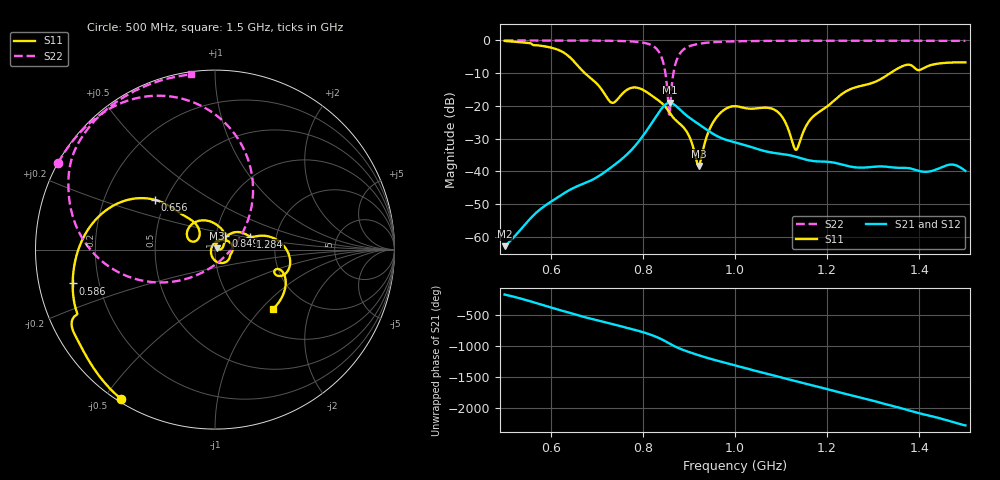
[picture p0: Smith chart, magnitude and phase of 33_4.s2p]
! TOUCHSTONE file generated by CST MICROWAVE STUDIO
! Date and time: Wed Oct 28 19:19:51 2020
! Project name: Scenario_1_Circular_Tissue_out_of_Line.cst
! Parameters = {dy1=208.912; L_HA=400; MT=2.54; Rad_Dielectric=30; Rad_Lower=7.3; Rad_Upper=30; a_HA=580; a_WG=246; b_HA=500; b_WG=121; c_HA=0; c_WG=187; d_feed=85; dx1=693; h_feed=15; h_lower=18; h_upper=40}
! Header version: 2018
! Port assignment regex: !\s*Touchstone port\s*([0-9]+)\s*=\s*(CST MWS port|CST DS port)\s*([0-9]+|Zmin|Zmax)\s*\(\"(.*)\"\)(\s*mode\s*([0-9]+))?.*
! Touchstone port assignment:
! Touchstone port 1 = CST MWS port 1 ("")
! Touchstone port 2 = CST MWS port 2 ("")
# GHz S DB R 50
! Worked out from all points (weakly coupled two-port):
!   1001 points, 500 MHz to 1.5 GHz, reference 50 ohm
!   highest |S21| = -19.06 dB at 858 MHz (marker M1); lowest = -62.9 dB at 500 MHz (marker M2)
!   lowest |S11| = -38.3 dB at 921 MHz (marker M3), VSWR 1.02, Z = 51 + j0.751 ohm
!   |S11| at or under -10 dB: 674.2 MHz to 1.337 GHz (662.6 MHz wide, 65.9 % of centre)
!   |S22| runs from -23.4 to 0.0 dB; largest |S21 - S12| = 2.5e-05
!   S11 on the Smith chart (normalised r, x): 500 MHz: 0.01, -0.55; 586 MHz: 0.10, -0.12; 656 MHz: 0.44, +0.30; 849 MHz: 1.11, +0.17; 1.284 GHz: 1.47, +0.22; 1.5 GHz: 1.38, -1.16
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0.5  -0.15 -122.2  -62.87 -176.3  -62.87 -176.3  -0.01 151.1
0.586  -1.78 -166.6  -50.66 7.2  -50.66 7.2  -0.02 145.2
0.631  -3.96 158.7  -46.52 -89.5  -46.52 -89.5  -0.03 141.6
0.656  -7.28 140.3  -44.66 -143.1  -44.66 -143.1  -0.04 139.4
0.667  -9.00 136.5  -44.02 -165.6  -44.02 -165.6  -0.04 138.3
0.732  -19.01 142.9  -38.71 73.5  -38.71 73.5  -0.11 130.5
0.781  -14.37 135.7  -32.57 -19.7  -32.57 -19.7  -0.35 119.9
0.816  -16.51 93.4  -25.97 -98.3  -25.97 -98.3  -1.27 102.8
0.834  -18.34 72.9  -22.15 -151.0  -22.15 -151.0  -3.31 83.1
0.849  -20.30 53.1  -19.58 153.9  -19.58 153.9  -10.03 49.7
0.858  -22.07 42.5  -19.06 116.8  -19.06 116.8  -23.27 -66.0
0.877  -25.07 29.0  -20.68 46.1  -20.68 46.1  -4.83 -168.7
0.899  -28.82 6.5  -23.39 -15.9  -23.39 -15.9  -1.89 167.9
0.921  -38.34 37.5  -25.55 -70.0  -25.55 -70.0  -1.05 157.2
0.954  -24.68 60.4  -28.68 -142.4  -28.68 -142.4  -0.51 148.1
1  -20.10 3.8  -31.14 128.1  -31.14 128.1  -0.27 140.1
1.09  -21.55 -63.6  -34.48 -45.7  -34.48 -45.7  -0.13 130.5
1.132  -33.44 168.0  -35.54 -128.2  -35.54 -128.2  -0.11 127.0
1.167  -23.63 62.1  -36.81 167.0  -36.81 167.0  -0.09 124.1
1.284  -13.54 20.0  -38.82 -50.3  -38.82 -50.3  -0.08 115.2
1.334  -10.26 13.8  -38.67 -149.0  -38.67 -149.0  -0.09 111.4
1.5  -6.70 -45.9  -39.89 -116.6  -39.90 -116.5  -0.13 97.8
